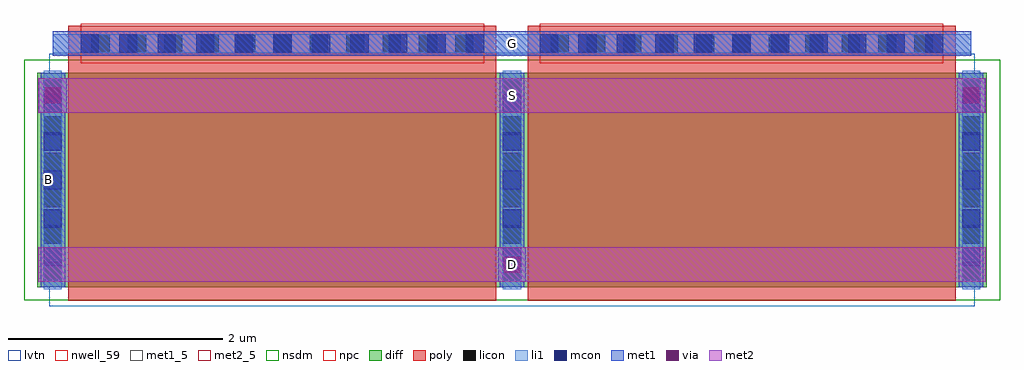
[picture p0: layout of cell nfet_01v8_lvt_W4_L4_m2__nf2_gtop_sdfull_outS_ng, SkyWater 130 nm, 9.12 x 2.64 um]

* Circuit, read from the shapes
.subckt nfet_01v8_lvt_W4_L4_m2__nf2_gtop_sdfull_outS_ng B D G S
XM1 D G S B sky130_fd_pr__nfet_01v8_lvt w=2 l=4 m=2
.ends

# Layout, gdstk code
import gdstk
lib = gdstk.Library(unit=1e-6, precision=1e-09)
def R(c, l, rs):  # rectangles x0, y0, x1, y1
    for r in rs: c.add(gdstk.rectangle(r[:2], r[2:], *l))
def A(c, l, x, y, w, h, nx, ny, dx, dy):  # array of equal rectangles
    R(c, l, [(x+i*dx, y+j*dy, x+i*dx+w, y+j*dy+h) for i in range(nx) for j in range(ny)])
nwell_59 = (64, 59)
diff = (65, 20)
poly = (66, 20)
licon = (66, 44)
li1 = (67, 20)
mcon = (67, 44)
met1_5 = (68, 5)
met1 = (68, 20)
via = (68, 44)
met2_5 = (69, 5)
met2 = (69, 20)
nsdm = (93, 44)
npc = (95, 20)
lvtn = (125, 44)

sky130_fd_pr__nfet_01v8_ = lib.new_cell('sky130_fd_pr__nfet_01v8_lvt_RUY8R2')
R(sky130_fd_pr__nfet_01v8_, diff, [(-4.435,-1.155,4.435,0.845)])
R(sky130_fd_pr__nfet_01v8_, poly, [(-4.145,-1.285,-0.145,1.285), (0.145,-1.285,4.145,1.285)])
A(sky130_fd_pr__nfet_01v8_, licon, -4.375, -1.09, 0.17, 0.17, 3, 6, 4.29, 0.34)
A(sky130_fd_pr__nfet_01v8_, licon, -3.93, 1.035, 0.17, 0.17, 11, 1, 0.34, 0)
A(sky130_fd_pr__nfet_01v8_, licon, 0.36, 1.035, 0.17, 0.17, 11, 1, 0.34, 0)
A(sky130_fd_pr__nfet_01v8_, li1, -4.375, -1.175, 0.17, 2.04, 3, 1, 4.29, 0)
R(sky130_fd_pr__nfet_01v8_, li1, [(-4.29,1.035,4.29,1.205)])
A(sky130_fd_pr__nfet_01v8_, mcon, -4.375, -0.96, 0.17, 0.17, 3, 5, 4.29, 0.36)
A(sky130_fd_pr__nfet_01v8_, mcon, -4.03, 1.035, 0.17, 0.17, 11, 1, 0.36, 0)
A(sky130_fd_pr__nfet_01v8_, mcon, 0.26, 1.035, 0.17, 0.17, 11, 1, 0.36, 0)
A(sky130_fd_pr__nfet_01v8_, met1, -4.405, -1.155, 0.23, 2, 3, 1, 4.29, 0)
R(sky130_fd_pr__nfet_01v8_, met1, [(-4.125,1.005,-0.165,1.035), (0.165,1.005,4.125,1.035), (-4.29,1.035,4.29,1.205), (-4.125,1.205,-0.165,1.235), (0.165,1.205,4.125,1.235)])
R(sky130_fd_pr__nfet_01v8_, nsdm, [(-4.56,-1.28,4.56,0.97)])
R(sky130_fd_pr__nfet_01v8_, npc, [(-4.03,0.935,-0.26,1.305), (0.26,0.935,4.03,1.305)])
R(sky130_fd_pr__nfet_01v8_, lvtn, [(-4.325,-1.335,4.325,1.025)])
sky130_fd_pr__nfet_01v8_.add(gdstk.Label('D0', (-4.29,-0.155), layer=67, texttype=5))
sky130_fd_pr__nfet_01v8_.add(gdstk.Label('G', (2.145,1.12), layer=67, texttype=5))
sky130_fd_pr__nfet_01v8_.add(gdstk.Label('G', (-2.145,1.12), layer=67, texttype=5))
sky130_fd_pr__nfet_01v8_.add(gdstk.Label('S1', (0,-0.155), layer=67, texttype=5))

nfet_01v8_lvt_w4_l4_m2__ = lib.new_cell('nfet_01v8_lvt_W4_L4_m2__nf2_gtop_sdfull_outS_ng')
R(nfet_01v8_lvt_w4_l4_m2__, nwell_59, [(0.05,1.08,0.15,1.18)])
R(nfet_01v8_lvt_w4_l4_m2__, met1_5, [(0.145,2.29,8.725,2.52)])
R(nfet_01v8_lvt_w4_l4_m2__, met1, [(4.305,0.18,4.565,0.5), (0.015,1.76,0.275,2.08), (8.595,1.76,8.855,2.08), (0.145,2.29,8.725,2.52)])
R(nfet_01v8_lvt_w4_l4_m2__, via, [(4.36,0.265,4.51,0.415), (0.07,1.845,0.22,1.995), (8.65,1.845,8.8,1.995)])
R(nfet_01v8_lvt_w4_l4_m2__, met2_5, [(0.01,0.18,8.86,0.5), (0.01,1.76,8.86,2.08)])
R(nfet_01v8_lvt_w4_l4_m2__, met2, [(0.01,0.18,8.86,0.5), (0.01,1.76,8.86,2.08)])
nfet_01v8_lvt_w4_l4_m2__.add(gdstk.Reference(sky130_fd_pr__nfet_01v8_, (4.435,1.285)))
nfet_01v8_lvt_w4_l4_m2__.add(gdstk.Label('S', (4.435,1.92), layer=69, texttype=5))
nfet_01v8_lvt_w4_l4_m2__.add(gdstk.Label('D', (4.435,0.34), layer=69, texttype=5))
nfet_01v8_lvt_w4_l4_m2__.add(gdstk.Label('G', (4.435,2.405), layer=68, texttype=5))
nfet_01v8_lvt_w4_l4_m2__.add(gdstk.Label('B', (0.1,1.13), layer=64, texttype=59))

lib.write_gds('nfet_01v8_lvt_W4_L4_m2__nf2_gtop_sdfull_outS_ng.gds')
